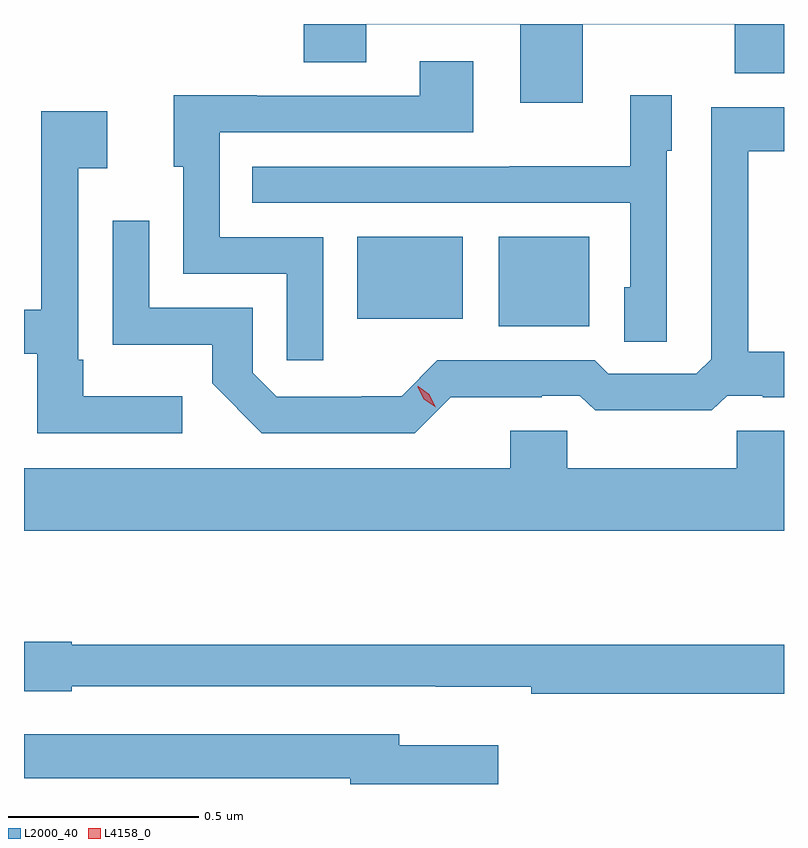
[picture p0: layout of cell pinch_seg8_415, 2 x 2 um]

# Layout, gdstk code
import gdstk
lib = gdstk.Library(unit=1e-6, precision=1e-09)
def R(c, l, rs):  # rectangles x0, y0, x1, y1
    for r in rs: c.add(gdstk.rectangle(r[:2], r[2:], *l))
def P(c, l, *ps):  # polygons
    for p in ps: c.add(gdstk.Polygon(p, *l))
L2000_40 = (2000, 40)
L4158_0 = (4158, 0)

pinch_seg8_415 = lib.new_cell('pinch_seg8_415')
R(pinch_seg8_415, L2000_40, [(492.74,1119.701,492.979,1119.937), (492.368,1119.722,492.646,1119.937)])
P(pinch_seg8_415, L2000_40, [(492.961,1120.496),(493.361,1120.496),(493.361,1120.368),(493.491,1120.368),(493.491,1120.497),(491.491,1120.497),(491.491,1120.496),(492.227,1120.496),(492.227,1120.397),(492.391,1120.397),(492.391,1120.496),(492.797,1120.496),(492.797,1120.29),(492.961,1120.29)],
  [(492.279,1119.936),(492.006,1119.936),(492.006,1120.212),(492.673,1120.212),(492.673,1120.399),(492.533,1120.399),(492.533,1120.308),(492.103,1120.308),(492.103,1120.31),(491.885,1120.31),(491.885,1120.122),(491.91,1120.122),(491.91,1119.84),(492.183,1119.84),(492.183,1119.612),(492.279,1119.612)],
  [(493.182,1120.164),(493.195,1120.164),(493.195,1120.309),(493.086,1120.309),(493.086,1120.123),(492.769,1120.123),(492.769,1120.122),(492.091,1120.122),(492.091,1120.026),(493.086,1120.026),(493.086,1119.804),(493.07,1119.804),(493.07,1119.661),(493.182,1119.661)],
  [(492.614,1119.515),(492.854,1119.515),(492.854,1119.519),(492.954,1119.519),(492.994,1119.48),(493.301,1119.48),(493.341,1119.519),(493.435,1119.519),(493.435,1119.515),(493.491,1119.515),(493.491,1119.635),(493.397,1119.635),(493.397,1120.162),(493.491,1120.162),(493.491,1120.278),(493.299,1120.278),(493.299,1119.615),(493.26,1119.576),(493.029,1119.576),(492.993,1119.612),(492.579,1119.612),(492.485,1119.518),(492.38,1119.518),(492.38,1119.516),(492.156,1119.516),(492.093,1119.579),(492.093,1119.75),(491.82,1119.75),(491.82,1119.979),(491.724,1119.979),(491.724,1119.653),(491.986,1119.653),(491.986,1119.551),(492.116,1119.42),(492.519,1119.42)],
  [(491.908,1119.517),(491.647,1119.517),(491.647,1119.613),(491.634,1119.613),(491.634,1120.118),(491.71,1120.118),(491.71,1120.267),(491.537,1120.267),(491.537,1119.745),(491.491,1119.745),(491.491,1119.629),(491.526,1119.629),(491.526,1119.42),(491.908,1119.42)],
  [(493.491,1119.426),(493.366,1119.426),(493.366,1119.328),(492.921,1119.328),(492.921,1119.426),(492.77,1119.426),(492.77,1119.328),(491.491,1119.328),(491.491,1119.164),(493.491,1119.164)],
  [(493.491,1118.863),(491.616,1118.863),(491.616,1118.871),(491.491,1118.871),(491.491,1118.741),(491.616,1118.741),(491.616,1118.754),(492.574,1118.754),(492.574,1118.753),(492.826,1118.753),(492.826,1118.734),(493.491,1118.734)],
  [(492.739,1118.599),(492.478,1118.599),(492.478,1118.628),(491.491,1118.628),(491.491,1118.512),(492.35,1118.512),(492.35,1118.497),(492.739,1118.497)])
P(pinch_seg8_415, L4158_0, [(492.574,1119.489),(492.543,1119.51),(492.527,1119.543),(492.527,1119.544),(492.528,1119.544),(492.558,1119.523),(492.574,1119.489),(492.574,1119.489)])

lib.write_gds('pinch_seg8_415.gds')
